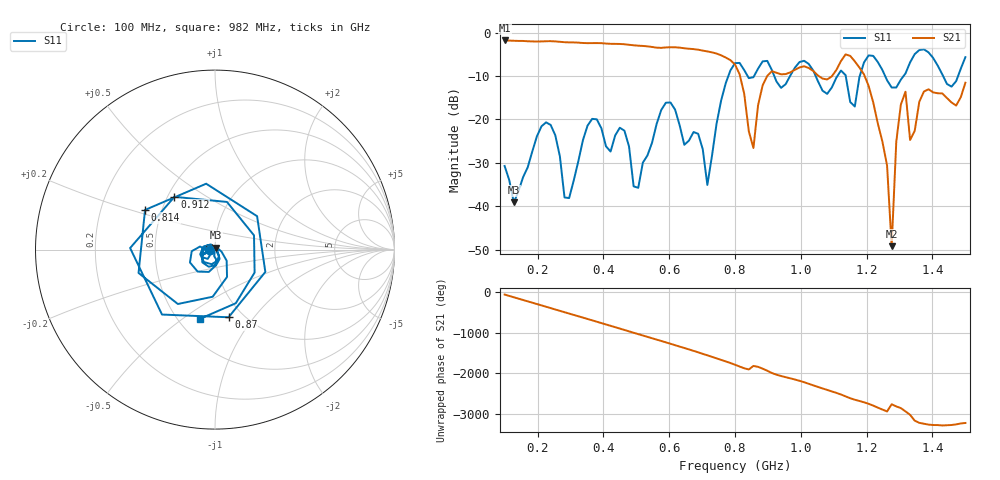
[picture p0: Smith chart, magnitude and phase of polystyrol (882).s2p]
! NanoVNA-App
! Date: 2025-09-25 15:36:45
! Start: 100MHz Stop: 1,5GHz Points: 101
! S-Parameter data: F S11 S21 S12 S22
# Hz S RI R 50
!  Frequency  S11_Real  S11_Imag  S21_Real  S21_Imag  S12_Real  S12_Imag  S22_Real  S22_Imag
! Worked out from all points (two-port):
!   101 points, 100 MHz to 1.5 GHz, reference 50 ohm
!   highest |S21| = -1.80 dB at 100 MHz (marker M1); lowest = -49.2 dB at 1.276 GHz (marker M2)
!   |S21| within 3 dB of the highest: start of sweep to 743 MHz
!   lowest |S11| = -39.1 dB at 128 MHz (marker M3), VSWR 1.02, Z = 50.3 + j1.06 ohm
!   |S11| at or under -10 dB: start of sweep to 779.7 MHz; 1.045 GHz to 1.111 GHz (65.98 MHz wide, 6.12 % of centre); 1.256 GHz to 1.312 GHz (55.86 MHz wide, 4.35 % of centre) (the widest 3 of 7)
!   S12 and S22 are empty: the file has one direction only
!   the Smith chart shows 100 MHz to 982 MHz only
!   S11 on the Smith chart (normalised r, x): 100 MHz: 0.94, -0.01; 814 MHz: 0.40, +0.22; 870 MHz: 0.85, -0.76; 912 MHz: 0.54, +0.37; 982 MHz: 0.64, -0.58
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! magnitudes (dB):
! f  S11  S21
! 100 MHz  -30.7  -1.8
! 128 MHz  -39.1  -1.9
! 212 MHz  -21.6  -2.0
! 282 MHz  -38.0  -2.2
! 338 MHz  -24.7  -2.4
! 506 MHz  -35.7  -3.0
! 576 MHz  -17.8  -3.5
! 716 MHz  -35.1  -4.3
! 800 MHz  -7.0  -7.3
! 814 MHz  -7.0  -9.6
! 856 MHz  -10.3  -26.6
! 870 MHz  -8.3  -16.7
! 912 MHz  -8.6  -8.9
! 982 MHz  -8.1  -8.6
! 1.038 GHz  -8.8  -8.9
! 1.192 GHz  -6.9  -9.6
! 1.262 GHz  -11.0  -30.6
! 1.276 GHz  -12.6  -49.2
! 1.29 GHz  -12.6  -25.1
! 1.318 GHz  -9.4  -13.6
! 1.332 GHz  -6.8  -24.7
! 1.5 GHz  -5.6  -11.5
